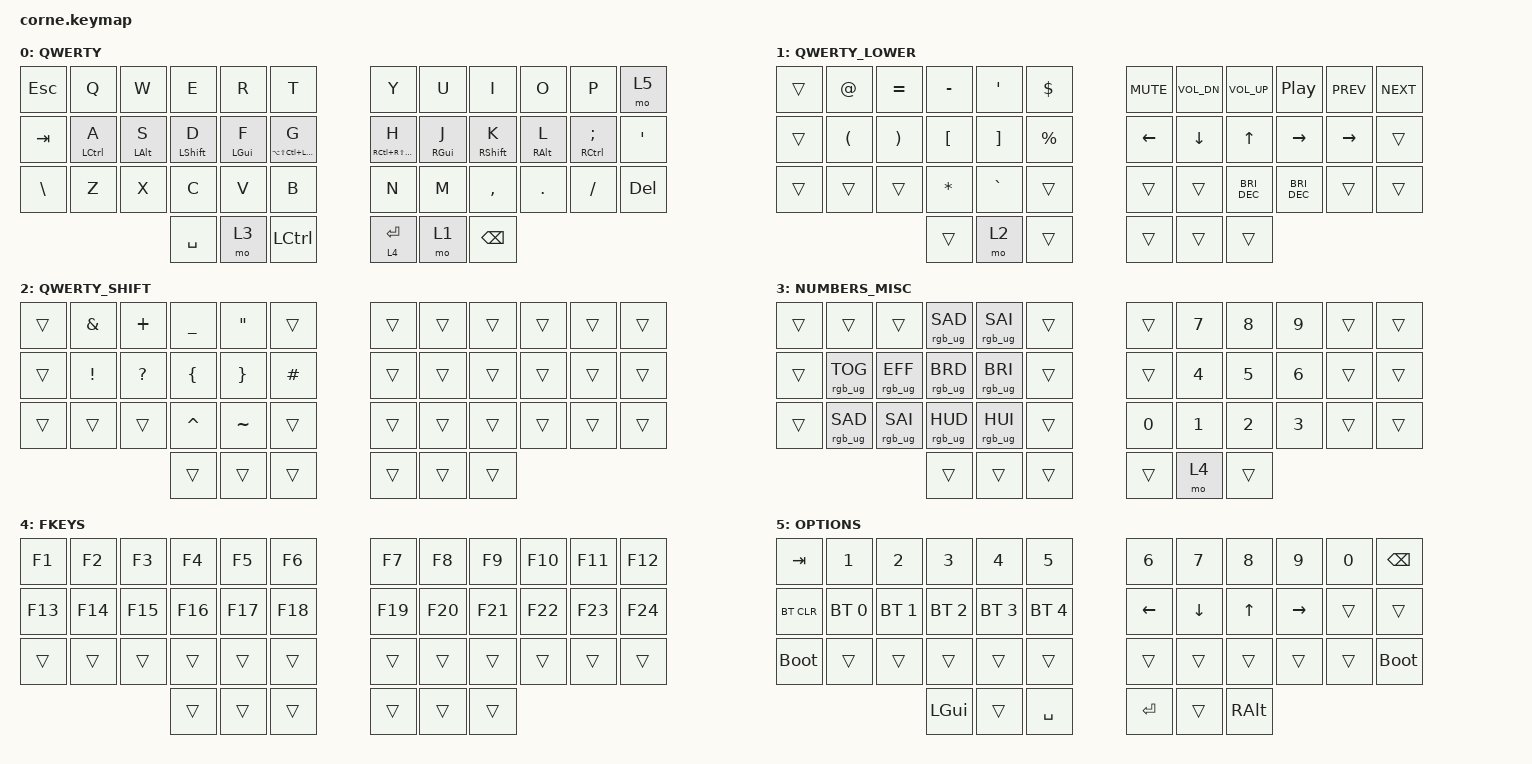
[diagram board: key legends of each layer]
/*
 * Copyright (c) 2020 The ZMK Contributors
 *
 * SPDX-License-Identifier: MIT
 */

#include <behaviors.dtsi>
#include <dt-bindings/zmk/bt.h>
#include <dt-bindings/zmk/keys.h>
#include <dt-bindings/zmk/rgb.h>

/ {
    behaviors {
        homerowMod: homerowMod {
            compatible = "zmk,behavior-hold-tap";
            label = "HOMEROWMOD";
            bindings = <&kp>, <&kp>;

            #binding-cells = <2>;
            tapping-term-ms = <280>;
            quick-tap-ms = <175>;
            require-prior-idle-ms = <125>;
            flavor = "balanced";
        };

        LAYER_HOLD: LAYER_HOLD {
            compatible = "zmk,behavior-hold-tap";
            label = "LAYER_HOLD";
            bindings = <&mo>, <&kp>;

            #binding-cells = <2>;
            tapping-term-ms = <280>;
            quick-tap-ms = <175>;
            require-prior-idle-ms = <135>;
            flavor = "balanced";
        };
    };

    keymap {
        compatible = "zmk,keymap";

        QWERTY {
            // -----------------------------------------------------------------------------------------
            // |  TAB |  Q  |  W  |  E  |  R  |  T  |   |  Y  |  U   |  I  |  O  |  P  | BSPC |
            // | CTRL |  A  |  S  |  D  |  F  |  G  |   |  H  |  J   |  K  |  L  |  ;  |  '   |
            // | SHFT |  Z  |  X  |  C  |  V  |  B  |   |  N  |  M   |  ,  |  .  |  /  | ESC  |
            //                    | GUI | LWR | SPC |   | ENT | RSE  | ALT |

            bindings = <
&kp ESCAPE     &kp Q                &kp W                   &kp E                     &kp R                   &kp T                                 &kp Y                           &kp U               &kp I                 &kp O               &kp P                        &mo 5
&kp TAB        &homerowMod LCTRL A  &homerowMod LEFT_ALT S  &homerowMod LEFT_SHIFT D  &homerowMod LEFT_GUI F  &homerowMod LA(LS(LC(LEFT_GUI))) G    &homerowMod RC(RS(RA(RGUI))) H  &homerowMod RGUI J  &homerowMod RSHIFT K  &homerowMod RALT L  &homerowMod RCTRL SEMICOLON  &kp SQT
&kp BACKSLASH  &kp Z                &kp X                   &kp C                     &kp V                   &kp B                                 &kp N                           &kp M               &kp COMMA             &kp DOT             &kp FSLH                     &kp DEL
                                                            &kp SPACE                 &mo 3                   &kp LCTRL                             &LAYER_HOLD 4 ENTER             &mo 1               &kp BACKSPACE
            >;
        };

        QWERTY_LOWER {
            bindings = <
&trans  &kp AT                &kp EQUAL              &kp MINUS         &kp SQT            &kp DOLLAR     &kp K_MUTE  &kp C_VOL_DN  &kp C_VOL_UP   &kp C_PLAY_PAUSE  &kp C_PREV  &kp C_NEXT
&trans  &kp LEFT_PARENTHESIS  &kp RIGHT_PARENTHESIS  &kp LEFT_BRACKET  &kp RIGHT_BRACKET  &kp PERCENT    &kp LEFT    &kp DOWN      &kp UP         &kp RIGHT         &kp RIGHT   &trans
&trans  &trans                &trans                 &kp ASTERISK      &kp GRAVE          &trans         &trans      &trans        &kp C_BRI_DEC  &kp C_BRI_DEC     &trans      &trans
                                                     &trans            &mo 2              &trans         &trans      &trans        &trans
            >;
        };

        QWERTY_SHIFT {
            // -----------------------------------------------------------------------------------------
            // |  TAB |  !  |  @  |  #  |  $  |  %  |   |  ^  |  &  |  *  |  (  |  )  | BSPC |
            // | CTRL |     |     |     |     |     |   |  -  |  =  |  [  |  ]  |  \  |  `   |
            // | SHFT |     |     |     |     |     |   |  _  |  +  |  {  |  }  | "|" |  ~   |
            //                    | GUI |     | SPC |   | ENT |     | ALT |

            bindings = <
&trans  &kp AMPERSAND  &kp PLUS      &kp UNDERSCORE  &kp DOUBLE_QUOTES  &trans      &trans  &trans  &trans  &trans  &trans  &trans
&trans  &kp EXCL       &kp QUESTION  &kp LEFT_BRACE  &kp RIGHT_BRACE    &kp HASH    &trans  &trans  &trans  &trans  &trans  &trans
&trans  &trans         &trans        &kp CARET       &kp TILDE          &trans      &trans  &trans  &trans  &trans  &trans  &trans
                                     &trans          &trans             &trans      &trans  &trans  &trans
            >;
        };

        NUMBERS_MISC {
            bindings = <
&trans  &trans           &trans           &rgb_ug RGB_SAD  &rgb_ug RGB_SAI  &trans    &trans        &kp N7        &kp N8        &kp N9        &trans  &trans
&trans  &rgb_ug RGB_TOG  &rgb_ug RGB_EFF  &rgb_ug RGB_BRD  &rgb_ug RGB_BRI  &trans    &trans        &kp NUMBER_4  &kp N5        &kp NUMBER_6  &trans  &trans
&trans  &rgb_ug RGB_SAD  &rgb_ug RGB_SAI  &rgb_ug RGB_HUD  &rgb_ug RGB_HUI  &trans    &kp NUMBER_0  &kp NUMBER_1  &kp NUMBER_2  &kp NUMBER_3  &trans  &trans
                                          &trans           &trans           &trans    &trans        &mo 4         &trans
            >;
        };

        FKEYS {
            bindings = <
&kp F1   &kp F2   &kp F3   &kp F4   &kp F5   &kp F6     &kp F7   &kp F8   &kp F9   &kp F10  &kp F11  &kp F12
&kp F13  &kp F14  &kp F15  &kp F16  &kp F17  &kp F18    &kp F19  &kp F20  &kp F21  &kp F22  &kp F23  &kp F24
&trans   &trans   &trans   &trans   &trans   &trans     &trans   &trans   &trans   &trans   &trans   &trans
                           &trans   &trans   &trans     &trans   &trans   &trans
            >;
        };

        OPTIONS {
            // -----------------------------------------------------------------------------------------
            // |  TAB |  1  |  2  |  3  |  4  |  5  |   |  6  |  7  |  8  |  9  |  0  | BSPC |
            // | BTCLR| BT1 | BT2 | BT3 | BT4 | BT5 |   | LFT | DWN |  UP | RGT |     |      |
            // | SHFT |     |     |     |     |     |   |     |     |     |     |     |      |
            //                    | GUI |     | SPC |   | ENT |     | ALT |

            bindings = <
&kp TAB      &kp N1        &kp N2        &kp N3        &kp N4        &kp N5          &kp N6    &kp N7    &kp N8    &kp N9     &kp N0  &kp BSPC
&bt BT_CLR   &bt BT_SEL 0  &bt BT_SEL 1  &bt BT_SEL 2  &bt BT_SEL 3  &bt BT_SEL 4    &kp LEFT  &kp DOWN  &kp UP    &kp RIGHT  &trans  &trans
&bootloader  &trans        &trans        &trans        &trans        &trans          &trans    &trans    &trans    &trans     &trans  &bootloader
                                         &kp LGUI      &trans        &kp SPACE       &kp RET   &trans    &kp RALT
            >;
        };
    };
};
